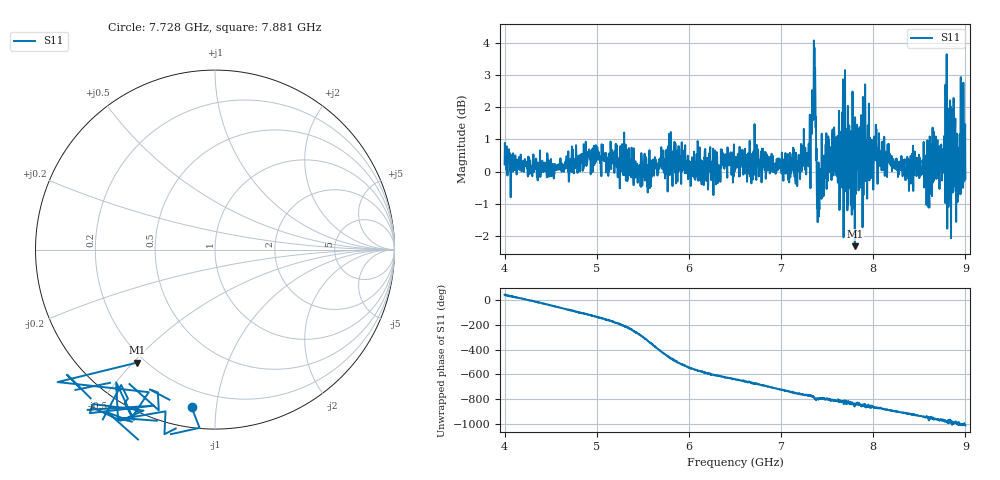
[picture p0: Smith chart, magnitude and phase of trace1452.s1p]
! Created with skrf 1.8.0 (http://scikit-rf.org).
# Hz S RI R 50.0
!freq ReS11 ImS11
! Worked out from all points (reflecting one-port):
!   1601 points, 4 GHz to 9 GHz, reference 50 ohm
!   lowest |S11| = -2.3 dB at 7.8 GHz (marker M1), VSWR 7.55, Z = 8.4 - j25.6 ohm
!   phase of S11 starts at 45 deg and turns -1058 deg over the sweep
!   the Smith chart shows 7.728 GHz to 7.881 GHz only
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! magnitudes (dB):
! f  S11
! 4 GHz  0.2
! 4.625 GHz  0.2
! 4.988 GHz  0.4
! 5.25 GHz  -0.5
! 5.875 GHz  -0.3
! 6.5 GHz  0.1
! 7.125 GHz  0.6
! 7.297 GHz  0.5
! 7.353 GHz  2.3
! 7.412 GHz  -0.9
! 7.503 GHz  0.1
! 7.659 GHz  -0.4
! 7.669 GHz  1.1
! 7.75 GHz  0.6
! 7.784 GHz  -0.3
! 7.8 GHz  -2.3
! 7.928 GHz  0.3
! 7.981 GHz  -0.2
! 8.375 GHz  0.2
! 8.603 GHz  0.4
! 8.666 GHz  0.5
! 8.766 GHz  0.3
! 8.816 GHz  -1.1
! 8.841 GHz  2.0
! 8.884 GHz  1.3
! 8.919 GHz  -0.3
! 8.972 GHz  0.5
! 9 GHz  -0.2
